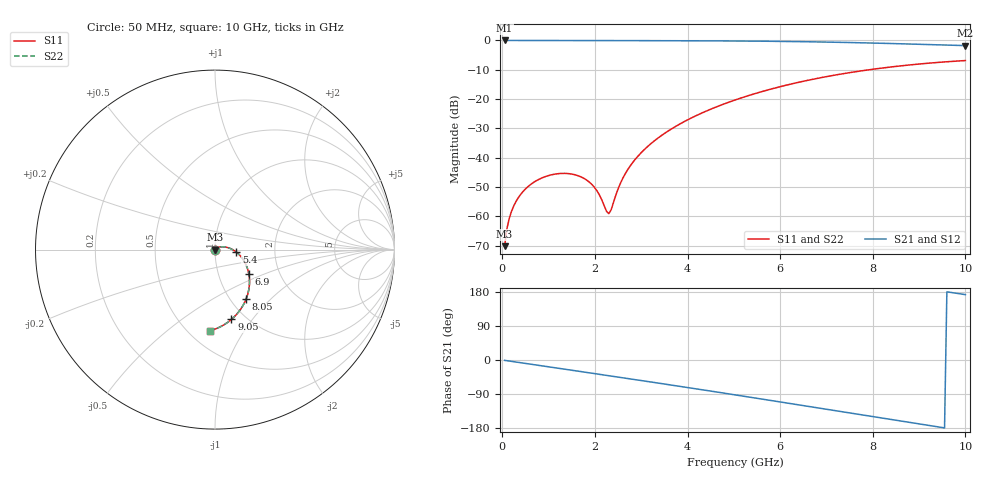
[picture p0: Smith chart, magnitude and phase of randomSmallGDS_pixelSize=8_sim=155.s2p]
! freq	dB(S11)	phase(S11)	dB(S12)	phase(S12)
!  dB(S21)	phase(S21)	dB(S22)	phase(S22)
!S-par simulation data
#  GHz  S  DB  R 50
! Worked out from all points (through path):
!   200 points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, 50 MHz to 10 GHz, reference 50 ohm
!   highest |S21| = 0.00 dB at 50 MHz (marker M1); lowest = -1.8 dB at 10 GHz (marker M2)
!   group delay of S21, straight-line fit = 52.4 ps
!   lowest |S11| = -70.2 dB at 50 MHz (marker M3), VSWR 1.00, Z = 50 - j0.0308 ohm
!   |S11| at or under -10 dB: start of sweep to 7.92 GHz
!   |S22| runs from -70.2 to -6.9 dB; largest |S21 - S12| = 0
!   S11 on the Smith chart (normalised r, x): 50 MHz: 1.00, -0.00; 5.4 GHz: 1.27, -0.04; 6.9 GHz: 1.40, -0.41; 8.05 GHz: 1.17, -0.73; 9.05 GHz: 0.86, -0.80; 10 GHz: 0.63, -0.72
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0.05  -70.20 -84.6  -0.00 -0.9  -0.00 -0.9  -70.20 -84.6
0.1  -64.23 -88.8  -0.00 -1.8  -0.00 -1.8  -64.23 -88.8
0.2  -58.28 -92.4  -0.00 -3.6  -0.00 -3.6  -58.28 -92.4
0.35  -53.56 -96.1  -0.01 -6.3  -0.01 -6.3  -53.56 -96.1
0.55  -49.95 -100.5  -0.01 -9.9  -0.01 -9.9  -49.95 -100.5
1.15  -45.57 -113.7  -0.03 -20.7  -0.03 -20.7  -45.57 -113.7
1.75  -46.96 -130.0  -0.04 -31.5  -0.04 -31.5  -46.96 -129.9
2  -50.33 -142.3  -0.04 -36.0  -0.04 -36.0  -50.34 -142.2
2.3  -59.10 139.6  -0.05 -41.4  -0.05 -41.4  -59.17 139.6
2.55  -48.77 64.8  -0.05 -46.0  -0.05 -46.0  -48.78 64.6
2.75  -43.10 52.4  -0.06 -49.6  -0.06 -49.6  -43.10 52.3
3.05  -37.49 42.3  -0.06 -55.1  -0.06 -55.1  -37.49 42.2
3.4  -32.86 33.6  -0.08 -61.5  -0.08 -61.5  -32.86 33.5
4.1  -26.31 18.8  -0.11 -74.5  -0.11 -74.5  -26.31 18.7
5.05  -20.19 0.0  -0.18 -92.4  -0.18 -92.4  -20.19 0.0
5.4  -18.41 -6.8  -0.22 -99.1  -0.22 -99.1  -18.41 -6.8
6.7  -13.26 -32.1  -0.47 -124.3  -0.47 -124.3  -13.26 -32.1
6.9  -12.64 -36.0  -0.52 -128.2  -0.52 -128.2  -12.64 -36.0
8.05  -9.72 -58.1  -0.90 -150.6  -0.90 -150.6  -9.72 -58.1
8.35  -9.13 -63.7  -1.02 -156.4  -1.02 -156.4  -9.13 -63.7
9.05  -7.97 -76.7  -1.33 -169.8  -1.33 -169.8  -7.97 -76.7
10  -6.86 -93.8  -1.76 172.5  -1.76 172.5  -6.86 -93.8
